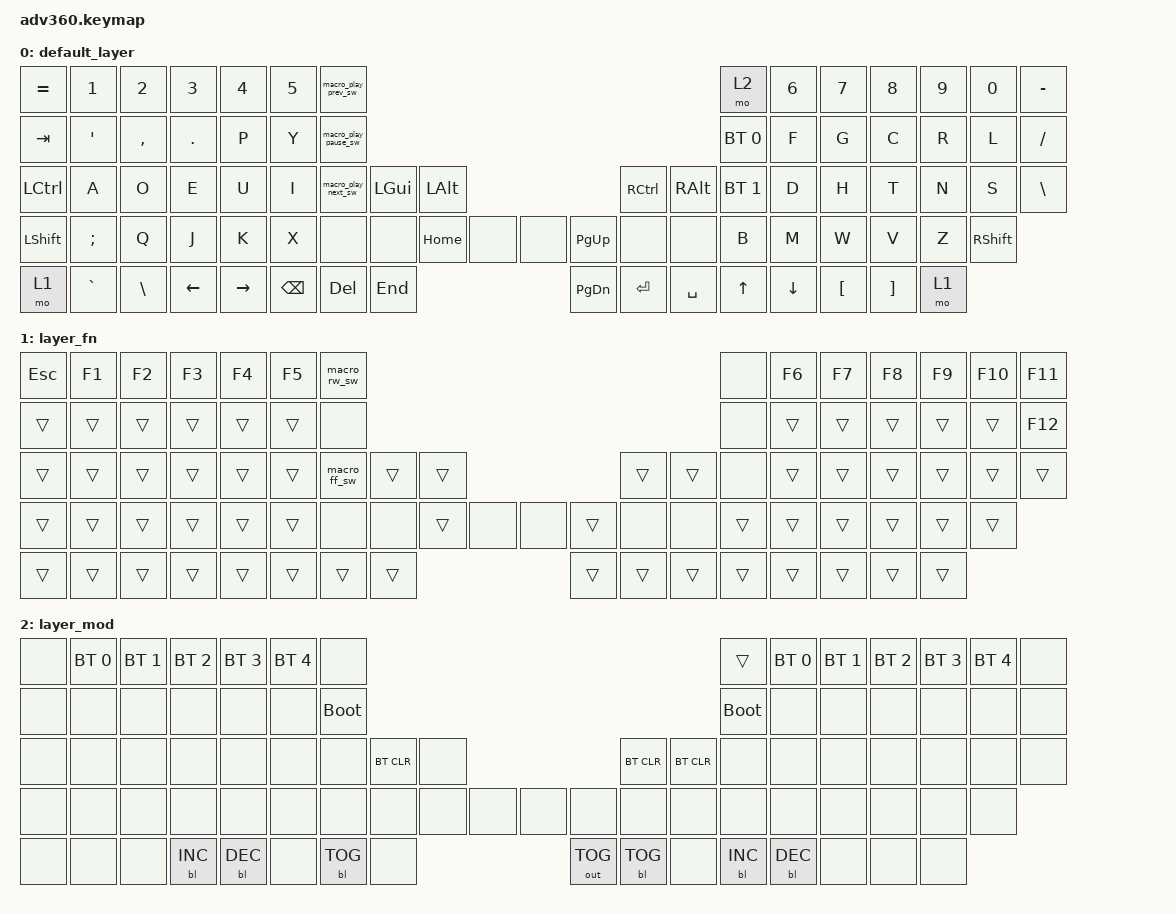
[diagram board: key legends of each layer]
#include <behaviors.dtsi>
#include <dt-bindings/zmk/keys.h>
#include <dt-bindings/zmk/bt.h>
#include <dt-bindings/zmk/backlight.h>
#include <dt-bindings/zmk/outputs.h>

/ {

    behaviors {
      #include "macros.dtsi"
    };
    
    keymap {
        compatible = "zmk,keymap";


        default_layer {
            bindings = <
 &kp EQUAL     &kp N1     &kp N2    &kp N3     &kp N4    &kp N5              &macro_play_prev_sw                                                     &mo 2                          &kp N6  &kp N7  &kp N8  &kp N9   &kp N0  &kp MINUS
 &kp TAB       &kp SQT    &kp COMMA &kp DOT    &kp P     &kp Y               &macro_play_pause_sw                                                    &bt BT_SEL 0                   &kp F   &kp G   &kp C   &kp R    &kp L   &kp FSLH
 &kp LCTRL     &kp A      &kp O     &kp E      &kp U     &kp I               &macro_play_next_sw &kp LEFT_GUI &kp LALT &kp RCTRL  &kp RIGHT_ALT      &bt BT_SEL 1                   &kp D   &kp H   &kp T   &kp N    &kp S   &kp BSLH
 &kp LSHFT     &kp SEMI   &kp Q     &kp J      &kp K     &kp X               &none         &none   &kp HOME      &none      &none  &kp PG_UP          &none      &none     &kp B   &kp M   &kp W   &kp V    &kp Z  &kp RSHFT
 &mo 1         &kp GRAVE  &kp BSLH  &kp LEFT  &kp RIGHT  &kp BSPC            &kp DEL       &kp END  &kp PG_DN  &kp ENTER  &kp SPACE     &kp UP       &kp DOWN   &kp LBKT                           &kp RBKT &mo 1
            >;
        };

        layer_fn {
            bindings = <
  &kp ESC &kp F1  &kp F2  &kp F3  &kp F4  &kp F5             &macro_rw_sw   &none             &kp F6  &kp F7  &kp F8  &kp F9  &kp F10  &kp F11
  &trans  &trans  &trans  &trans  &trans  &trans             &none   &none            &trans  &trans  &trans  &trans   &trans  &kp F12
  &trans  &trans  &trans  &trans  &trans  &trans             &macro_ff_sw   &trans  &trans                  &trans   &trans    &none  &trans  &trans  &trans  &trans  &trans  &trans
  &trans  &trans  &trans  &trans  &trans  &trans             &none   &none  &trans   &none   &none  &trans    &none    &none  &trans  &trans  &trans  &trans  &trans  &trans
  &trans  &trans  &trans  &trans  &trans  &trans             &trans  &trans  &trans  &trans  &trans  &trans   &trans   &trans  &trans  &trans
            >;
        };

        layer_mod {
            bindings = <
  &none  &bt BT_SEL 0  &bt BT_SEL 1  &bt BT_SEL 2  &bt BT_SEL 3     &bt BT_SEL 4                             &none       &trans  &bt BT_SEL 0  &bt BT_SEL 1     &bt BT_SEL 2  &bt BT_SEL 3  &bt BT_SEL 4                   &none
  &none         &none         &none         &none         &none            &none                       &bootloader  &bootloader         &none         &none            &none         &none         &none                   &none
  &none         &none         &none         &none         &none            &none            &none   &bt BT_CLR         &none                                   &bt BT_CLR    &bt BT_CLR    &none   &none   &none   &none   &none   &none   &none
  &none         &none         &none         &none         &none            &none                             &none        &none         &none         &none            &none         &none         &none                   &none   &none   &none   &none   &none   &none   &none
  &none         &none         &none    &bl BL_INC    &bl BL_DEC  &none                        &bl BL_TOG        &none  &out OUT_TOG    &bl BL_TOG  &none    &bl BL_INC    &bl BL_DEC                   &none   &none   &none
            >;
        };

    };
};

